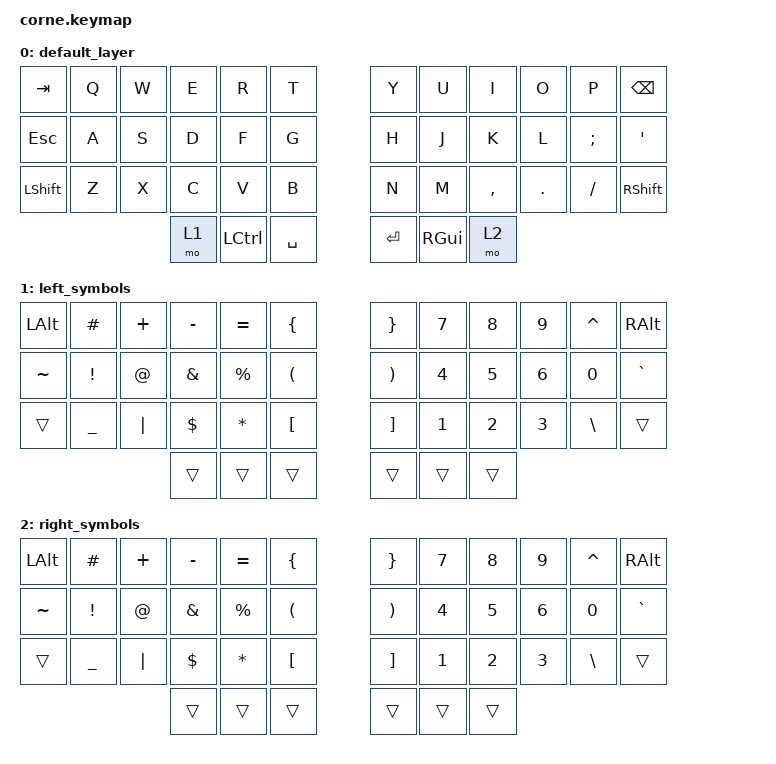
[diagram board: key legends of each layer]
/*
 * Copyright (c) 2020 The ZMK Contributors
 *
 * SPDX-License-Identifier: MIT
 */

#include <behaviors.dtsi>
#include <dt-bindings/zmk/bt.h>
#include <dt-bindings/zmk/keys.h>

/ {
    keymap {
        compatible = "zmk,keymap";

        default_layer {
            bindings = <
&kp TAB    &kp Q  &kp W  &kp E  &kp R      &kp T               &kp Y    &kp U     &kp I      &kp O    &kp P     &kp BSPC
&kp ESC    &kp A  &kp S  &kp D  &kp F      &kp G               &kp H    &kp J     &kp K      &kp L    &kp SEMI  &kp SQT
&kp LSHFT  &kp Z  &kp X  &kp C  &kp V      &kp B               &kp N    &kp M     &kp COMMA  &kp DOT  &kp FSLH  &kp RSHFT
                         &mo 1  &kp LCTRL  &kp SPACE           &kp RET  &kp RGUI  &mo 2
            >;
        };

        left_symbols {
            bindings = <
&kp LALT   &kp HASH         &kp PLUS     &kp MINUS      &kp EQUAL     &kp LBRC                &kp RBRC  &kp N7  &kp N8  &kp N9  &kp CARET &kp RALT
&kp TILDE  &kp EXCLAMATION  &kp AT_SIGN  &kp AMPERSAND  &kp PERCENT   &kp LPAR                &kp RPAR  &kp N4  &kp N5  &kp N6  &kp N0    &kp GRAVE
&trans     &kp UNDERSCORE   &kp PIPE     &kp DOLLAR     &kp ASTERISK  &kp LBKT                &kp RBKT  &kp N1  &kp N2  &kp N3  &kp BSLH  &trans
                                         &trans         &trans        &trans                  &trans    &trans  &trans
            >;
        };

        right_symbols {
            bindings = <
&kp LALT   &kp HASH         &kp PLUS     &kp MINUS      &kp EQUAL     &kp LBRC                &kp RBRC  &kp N7  &kp N8  &kp N9  &kp CARET &kp RALT
&kp TILDE  &kp EXCLAMATION  &kp AT_SIGN  &kp AMPERSAND  &kp PERCENT   &kp LPAR                &kp RPAR  &kp N4  &kp N5  &kp N6  &kp N0    &kp GRAVE
&trans     &kp UNDERSCORE   &kp PIPE     &kp DOLLAR     &kp ASTERISK  &kp LBKT                &kp RBKT  &kp N1  &kp N2  &kp N3  &kp BSLH  &trans
                                         &trans         &trans        &trans                  &trans    &trans  &trans
            >;
        };

    };
};
